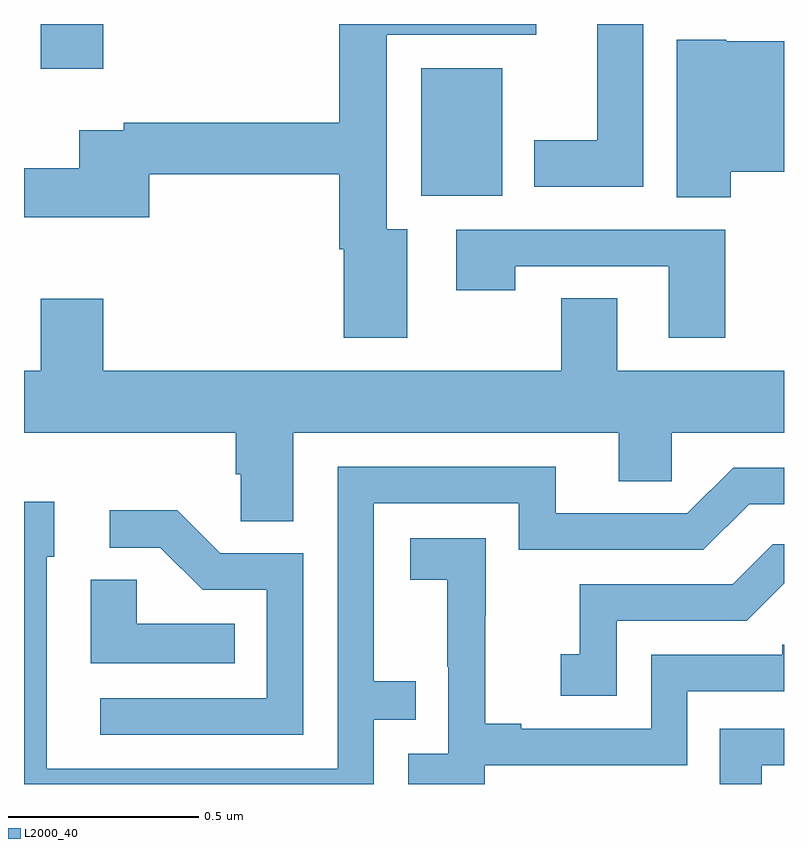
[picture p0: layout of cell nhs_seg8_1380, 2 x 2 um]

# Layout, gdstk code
import gdstk
lib = gdstk.Library(unit=1e-6, precision=1e-09)
def R(c, l, rs):  # rectangles x0, y0, x1, y1
    for r in rs: c.add(gdstk.rectangle(r[:2], r[2:], *l))
def P(c, l, *ps):  # polygons
    for p in ps: c.add(gdstk.Polygon(p, *l))
L2000_40 = (2000, 40)

nhs_seg8_1380 = lib.new_cell('nhs_seg8_1380')
R(nhs_seg8_1380, L2000_40, [(130.046,1126.448,130.258,1126.783), (129.044,1126.782,129.208,1126.9)])
P(nhs_seg8_1380, L2000_40, [(130.63,1126.9),(130.508,1126.9),(130.508,1126.594),(130.343,1126.594),(130.343,1126.472),(130.63,1126.472)],
  [(130.009,1126.36),(129.955,1126.36),(129.955,1126.872),(130.348,1126.872),(130.348,1126.9),(129.83,1126.9),(129.83,1126.64),(129.262,1126.64),(129.262,1126.62),(129.146,1126.62),(129.146,1126.52),(129,1126.52),(129,1126.391),(129.329,1126.391),(129.329,1126.504),(129.83,1126.504),(129.83,1126.307),(129.842,1126.307),(129.842,1126.074),(130.009,1126.074)],
  [(130.86,1126.511),(131,1126.511),(131,1126.855),(130.848,1126.855),(130.848,1126.858),(130.718,1126.858),(130.718,1126.444),(130.86,1126.444)],
  [(130.845,1126.359),(130.137,1126.359),(130.137,1126.2),(130.293,1126.2),(130.293,1126.263),(130.697,1126.263),(130.697,1126.074),(130.845,1126.074)],
  [(129.709,1125.824),(130.565,1125.824),(130.565,1125.697),(130.704,1125.697),(130.704,1125.824),(131,1125.824),(131,1125.988),(130.561,1125.988),(130.561,1126.178),(130.414,1126.178),(130.414,1125.988),(129.208,1125.988),(129.208,1126.177),(129.044,1126.177),(129.044,1125.988),(129,1125.988),(129,1125.824),(129.557,1125.824),(129.557,1125.715),(129.57,1125.715),(129.57,1125.592),(129.709,1125.592)],
  [(129.921,1125.069),(130.031,1125.069),(130.031,1125.17),(129.921,1125.17),(129.921,1125.639),(130.302,1125.639),(130.302,1125.516),(130.788,1125.516),(130.908,1125.636),(131,1125.636),(131,1125.732),(130.866,1125.732),(130.746,1125.612),(130.399,1125.612),(130.399,1125.735),(129.825,1125.735),(129.825,1124.94),(129.06,1124.94),(129.06,1125.498),(129.079,1125.498),(129.079,1125.643),(129,1125.643),(129,1124.9),(129.921,1124.9)],
  [(129.735,1125.507),(129.516,1125.507),(129.403,1125.62),(129.225,1125.62),(129.225,1125.522),(129.359,1125.522),(129.47,1125.411),(129.639,1125.411),(129.639,1125.126),(129.201,1125.126),(129.201,1125.03),(129.735,1125.03)],
  [(130.212,1124.949),(130.746,1124.949),(130.746,1125.144),(131,1125.144),(131,1125.267),(130.995,1125.267),(130.995,1125.24),(130.65,1125.24),(130.65,1125.045),(130.309,1125.045),(130.309,1125.058),(130.214,1125.058),(130.214,1125.341),(130.215,1125.341),(130.215,1125.547),(130.017,1125.547),(130.017,1125.437),(130.114,1125.437),(130.114,1125.209),(130.116,1125.209),(130.116,1124.979),(130.011,1124.979),(130.011,1124.9),(130.212,1124.9)],
  [(130.56,1125.33),(130.902,1125.33),(131,1125.428),(131,1125.531),(130.97,1125.531),(130.865,1125.426),(130.462,1125.426),(130.462,1125.241),(130.413,1125.241),(130.413,1125.132),(130.56,1125.132)],
  [(129.554,1125.322),(129.297,1125.322),(129.297,1125.437),(129.176,1125.437),(129.176,1125.218),(129.554,1125.218)],
  [(130.942,1124.949),(131,1124.949),(131,1125.045),(130.831,1125.045),(130.831,1124.9),(130.942,1124.9)])

lib.write_gds('nhs_seg8_1380.gds')
